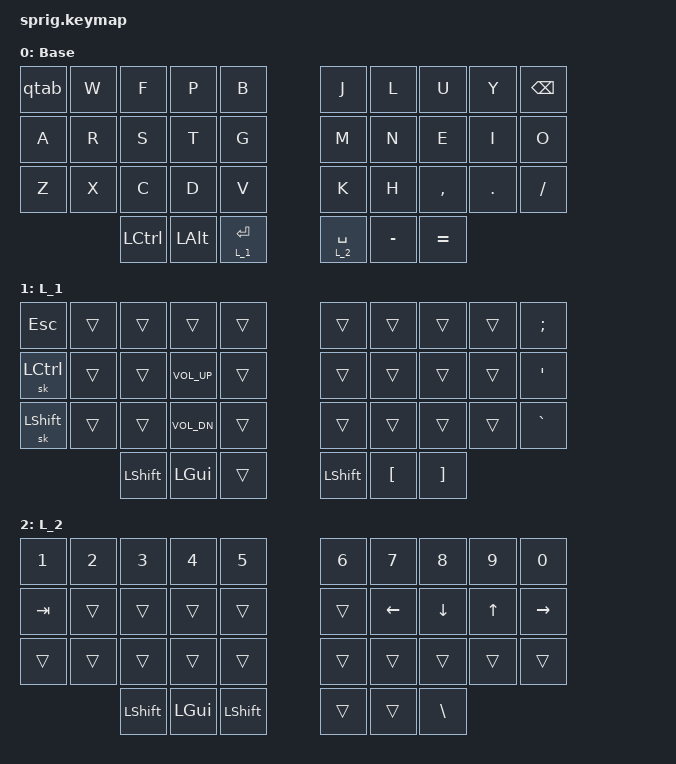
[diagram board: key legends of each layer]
#include <behaviors.dtsi>
#include <dt-bindings/zmk/keys.h>

#define L_1 1
#define L_2 2

// Using layer taps on thumbs, having quick tap as well helps w/ repeating space/backspace
&lt { quick_tap_ms = <200>; };

/ {
    behaviors {
        qtab: q_alt_tab {
            compatible = "zmk,behavior-mod-morph";
            #binding-cells = <0>;
            bindings = <&kp Q>, <&kp TAB>;
            mods = <(MOD_LALT)>;
            keep-mods = <(MOD_LALT)>;
        };
    };
    keymap {
        compatible = "zmk,keymap";

        base_layer {
            label = "Base";
            bindings = <
       &qtab     &kp W  &kp F      &kp P    &kp B         &kp J         &kp L     &kp U     &kp Y   &kp BKSP
       &kp A     &kp R  &kp S      &kp T    &kp G         &kp M         &kp N     &kp E     &kp I   &kp O   
       &kp Z     &kp X  &kp C      &kp D    &kp V         &kp K         &kp H     &kp COMMA &kp DOT &kp SLASH     
                        &kp LCTRL  &kp LALT &lt L_1 ENTER &lt L_2 SPACE &kp MINUS &kp EQUAL
            >;
        };

        layer_1 {
            label = "L_1";
            bindings = <
       &kp ESC   &trans &trans     &trans       &trans       &trans        &trans    &trans    &trans  &kp SEMI
       &sk LCTRL &trans &trans     &kp C_VOL_UP &trans       &trans        &trans    &trans    &trans  &kp SQT
       &sk LSHFT &trans &trans     &kp C_VOL_DN &trans       &trans        &trans    &trans    &trans  &kp GRAVE
                        &kp LSHFT  &kp LGUI     &trans       &kp LSHFT     &kp LBKT  &kp RBKT
            >;
        };

        layer_2 {
            label = "L_2";
            bindings = <
       &kp N1    &kp N2 &kp N3     &kp N4    &kp N5        &kp N6       &kp N7    &kp N8    &kp N9  &kp N0
       &kp TAB   &trans &trans     &trans    &trans        &trans       &kp LEFT  &kp DOWN  &kp UP  &kp RIGHT
       &trans    &trans &trans     &trans    &trans        &trans       &trans    &trans    &trans  &trans
                        &kp LSHFT  &kp LGUI  &kp LSHFT     &trans       &trans    &kp BSLH
            >;
        };

    };
};
